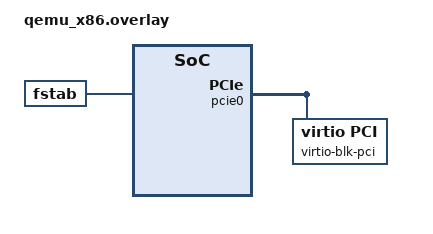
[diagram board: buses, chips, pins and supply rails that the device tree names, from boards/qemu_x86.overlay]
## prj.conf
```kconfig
# M1 step 2: bare boot + networking smoke test.
CONFIG_NETWORKING=y
CONFIG_NET_L2_ETHERNET=y
CONFIG_NET_IPV4=y
CONFIG_NET_IPV6=y
CONFIG_NET_DHCPV4=y
CONFIG_NET_IPV6_MLD=y

CONFIG_SHELL=y
CONFIG_NET_SHELL=y

CONFIG_LOG=y

# M1 step 3: CHIP library build (no data model / Server init yet -- just
# prove the chip-module GN build works for qemu_x86).
CONFIG_CHIP=y
CONFIG_CHIP_ETHERNET=y
CONFIG_CHIP_LIB_SHELL=n
CONFIG_STD_CPP17=y
CONFIG_POSIX_API=y
# mbedTLS 4.x (this Zephyr's default) removed the classic headers CHIP's
# direct-mbedtls crypto backend expects (mbedtls/bignum.h etc are gone/moved
# into tf-psa-crypto internals). Use CHIP's PSA-based crypto backend instead.
CONFIG_PSA_CRYPTO=y
CONFIG_MBEDTLS=y
CONFIG_CHIP_CRYPTO_PSA=y
# Every secure session holds two PSA key slots (I2R + R2I AES keys) until it
# is evicted, and chip-tool opens a new CASE session per invocation without
# closing the old one. With Zephyr's default of 16 slots the 8th session
# since boot fails in Sigma1 ("Invalid CASE parameter" on the controller).
# Size for the full session pool (CHIP_CONFIG_MAX_FABRICS * 3 + 2 = 17 here)
# plus operational/ephemeral keys; same value nRF Connect's Matter config uses.
CONFIG_MBEDTLS_PSA_KEY_SLOT_COUNT=64
# SPAKE2+ specifically: mbedTLS 4.x has no PSA_ALG_SPAKE2P_MATTER support
# (upstream mbedtls#9378/#9381, unresolved 2+ years), so PSASpake2p.cpp
# (chip_crypto_spake2p="psa") fails to link. CHIPCryptoPALPSA.cpp already
# contains a complete classic SPAKE2+ implementation against mbedTLS's
# private ecp.h/bignum.h, gated behind this exact Kconfig -- no new source
# file needed, just don't select the (broken) PSA-native pake variant.
CONFIG_CHIP_CRYPTO_SPAKE2P_MBEDTLS=y

# No Thread/BLE/Wi-Fi for this port.
CONFIG_NET_L2_OPENTHREAD=n
CONFIG_OPENTHREAD=n
CONFIG_BT=n
CONFIG_CHIP_WIFI=n

# M1 step 4: data model + commissioning + on/off/level.
CONFIG_CHIP_PROJECT_CONFIG="include/CHIPProjectConfig.h"
CONFIG_CHIP_ENABLE_PAIRING_AUTOSTART=y

# Persistent storage: a virtio-blk disk (see boards/qemu_x86.overlay),
# formatted FAT and auto-mounted via devicetree fstab, with CHIP's Settings
# using CONFIG_SETTINGS_FILE instead of the ephemeral RAM-backed flash
# simulator -- commissioning survives QEMU restarts.
CONFIG_FLASH=y
CONFIG_FLASH_MAP=y
CONFIG_NVS=y
CONFIG_DISK_ACCESS=y
CONFIG_DISK_DRIVERS=y
CONFIG_DISK_DRIVER_VIRTIO_BLK=y
CONFIG_FILE_SYSTEM=y
CONFIG_FILE_SYSTEM_MKFS=y
CONFIG_FAT_FILESYSTEM_ELM=y
CONFIG_FS_FATFS_FSTAB_AUTOMOUNT=y
CONFIG_SETTINGS=y
CONFIG_SETTINGS_NVS=n
CONFIG_SETTINGS_FILE=y
CONFIG_SETTINGS_FILE_PATH="/SD:/settings/run"

# Entropy: prototype only, not a real HWRNG.
CONFIG_TEST_RANDOM_GENERATOR=y

# Memory. We have 32MB of board RAM to spare; be generous with both.
CONFIG_CHIP_MALLOC_SYS_HEAP=y
CONFIG_CHIP_MALLOC_SYS_HEAP_SIZE=131072
CONFIG_MAIN_STACK_SIZE=32768
# Zephyr's OWN separate malloc arena (lib/libc/common/.../malloc.c) crashed in
# its own SYS_INIT hook (malloc_prepare) -- and it's dead weight for us anyway,
# since CHIP_MALLOC_SYS_HEAP_OVERRIDE wraps malloc/calloc/realloc/free to route
# through its own heap instead. Disabled outright; see plan-detailed.md.
CONFIG_COMMON_LIBC_MALLOC=n

# Logging: default 1KB deferred-log ring buffer overflows constantly under
# CHIP's verbose debug-level logging (commissioning especially), silently
# dropping messages. We have RAM to spare.
CONFIG_LOG_BUFFER_SIZE=16384

# LLEXT (Linkable Loadable Extensions): lets the device load and run a small
# binary extension at runtime via the ExtensionLoaderCluster (EP1, manufacturer
# cluster 0xFFF1FC01) -- see plan/plan-detailed.md Milestone 3, and
# extensions/hello/ for a sample extension + scripts/send-llext.py to load it.
#
# CONFIG_LLEXT_IMPORT_ALL_GLOBALS avoids needing a precise EXPORT_SYMBOL
# table while x86 LLEXT itself is unproven on this board (zero existing
# samples target qemu_x86/x86 upstream) -- can be tightened later.
#
# NOTE: CONFIG_LLEXT_SHELL was tried for the Phase 0 smoke test (`llext
# load_hex`) but subsys/llext/shell.c calls plain libc aligned_alloc()/free(),
# which aren't covered by our --wrap=malloc interception and need picolibc's
# real sbrk()-based heap -- which needs __heap_start/__heap_end, which aren't
# defined because CONFIG_COMMON_LIBC_MALLOC=n (see above; disabled for an
# unrelated M1 crash). Rather than re-litigate that, HandleLoadDone() calls
# llext_load() directly instead of via the shell.
CONFIG_LLEXT=y
CONFIG_LLEXT_STORAGE_WRITABLE=y
CONFIG_LLEXT_HEAP_SIZE=128
CONFIG_LLEXT_IMPORT_ALL_GLOBALS=y
```

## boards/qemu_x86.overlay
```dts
/*
 * Attaches a virtio-blk disk and auto-mounts it FAT via devicetree fstab, so
 * CHIP's Settings storage survives QEMU restarts instead of living in the
 * (RAM-backed, ephemeral) flash simulator -- see prj.conf's persistent
 * storage section. Auto-applied by Zephyr's build system (board-name-matched
 * overlay, same convention as boards/qemu_x86.conf) -- no extra CLI flags
 * needed.
 *
 * Run via scripts/run-qemu-macos.sh, which attaches the matching QEMU
 * -drive/-device pair backed by a real host disk image file.
 */

#include <zephyr/dt-bindings/pcie/pcie.h>

/ {
	pcie0 {
		virtio-blk-pci {
			compatible = "virtio,pci";
			vendor-id = <0x1af4>;
			device-id = <0x1001>;
			/* IRQ 11 (e1000's line) is full; take over IRQ 10, freed by
			 * disabling virtio_input_pci below. */
			interrupts = <0xa 0x0 0x0>;
			interrupt-parent = <&intc>;
			status = "okay";

			virtio_blk: virtio-blk {
				compatible = "virtio,blk";
				disk-name = "SD";
				status = "okay";
			};
		};
	};

	fstab {
		compatible = "zephyr,fstab";

		persist: persist {
			compatible = "zephyr,fstab,fatfs";
			automount;
			disk-access;
			mount-point = "/SD:";
		};
	};
};

/* Frees up IRQ 11, which the board's default virtio-input device also wants
 * (unused here -- no touch input). */
&virtio_input_pci {
	status = "disabled";
};
```

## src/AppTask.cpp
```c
#include "AppTask.h"
#include "EthernetNetworkCommissioningDriver.h"
#include "LightingManager.h"
#include "llext/ExtensionLoaderCluster.h"

#include <app/TestEventTriggerDelegate.h>
#include <app/clusters/network-commissioning/network-commissioning.h>
#include <app/server/Server.h>
#include <app/server-cluster/ServerClusterInterfaceRegistry.h>
#include <credentials/examples/DeviceAttestationCredsExample.h>
#include <data-model-providers/codegen/CodegenDataModelProvider.h>
#include <data-model-providers/codegen/Instance.h>
#include <DeviceInfoProviderImpl.h>
#include <lib/support/CHIPMem.h>
#include <lib/support/logging/CHIPLogging.h>
#include <platform/CHIPDeviceLayer.h>
#include <setup_payload/OnboardingCodesUtil.h>

using namespace chip;
using namespace chip::app;
using namespace chip::Credentials;
using namespace chip::DeviceLayer;

namespace {
// Not function-local statics with no dependency on the CHIP/kernel stack being
// up yet -- safe to construct at global static-init time.
DeviceLayer::NetworkCommissioning::QemuEthernetDriver sEthernetDriver;
uint8_t sTestEventTriggerEnableKey[TestEventTriggerDelegate::kEnableKeyLength] = { 0 };
} // namespace

CHIP_ERROR AppTask::Init()
{
    ReturnErrorOnFailure(Platform::MemoryInit());
    ReturnErrorOnFailure(PlatformMgr().InitChipStack());

    SetDeviceAttestationCredentialsProvider(Examples::GetExampleDACProvider());

    // Function-local statics: their constructors call into Server::GetInstance()
    // et al (e.g. NetworkCommissioning::Instance's Context member initializer),
    // which must not run before InitChipStack() above -- as global (namespace-
    // scope) statics they'd construct before main() / the kernel is fully up,
    // corrupting memory (observed as a garbage-EIP crash in the idle thread).
    static CommonCaseDeviceServerInitParams sInitParams;
    static SimpleTestEventTriggerDelegate sTestEventTriggerDelegate;
    static Clusters::NetworkCommissioning::Instance sEthernetCommissioningInstance(0 /* endpoint */, &sEthernetDriver);

    ReturnErrorOnFailure(sInitParams.InitializeStaticResourcesBeforeServerInit());

    // Required by clusters that ship with our data model (e.g. User Label on
    // EP0) -- CreateRegistration() VerifyOrDie()s on this being non-null.
    static DeviceInfoProviderImpl sDeviceInfoProvider;
    sDeviceInfoProvider.SetStorageDelegate(sInitParams.persistentStorageDelegate);
    SetDeviceInfoProvider(&sDeviceInfoProvider);

    ReturnErrorOnFailure(sTestEventTriggerDelegate.Init(ByteSpan(sTestEventTriggerEnableKey)));
    sInitParams.testEventTriggerDelegate = &sTestEventTriggerDelegate;
    sInitParams.dataModelProvider        = CodegenDataModelProviderInstance(sInitParams.persistentStorageDelegate);

    ReturnErrorOnFailure(sEthernetCommissioningInstance.Init());

    ReturnErrorOnFailure(Server::GetInstance().Init(sInitParams));

    LightingManager::GetInstance().Init();

    ConfigurationMgr().LogDeviceConfig();
    PrintOnboardingCodes(RendezvousInformationFlags(RendezvousInformationFlag::kOnNetwork));

    {
        static RegisteredServerCluster<ExtensionLoaderCluster> sExtensionLoaderCluster;
        ReturnErrorOnFailure(CodegenDataModelProvider::Instance().Registry().Register(sExtensionLoaderCluster.Registration()));
    }

    return CHIP_NO_ERROR;
}

void AppTask::StartApp()
{
    PlatformMgr().RunEventLoop();
}
```

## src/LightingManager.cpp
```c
#include "LightingManager.h"

#include <lib/support/logging/CHIPLogging.h>

void LightingManager::Set(bool onOff)
{
    mOnOff = onOff;
    ChipLogProgress(NotSpecified, "BULB: %s level=%u", mOnOff ? "ON" : "OFF", mLevel);
}

void LightingManager::SetLevel(uint8_t level)
{
    mLevel = level;
    ChipLogProgress(NotSpecified, "BULB: %s level=%u", mOnOff ? "ON" : "OFF", mLevel);
}
```
